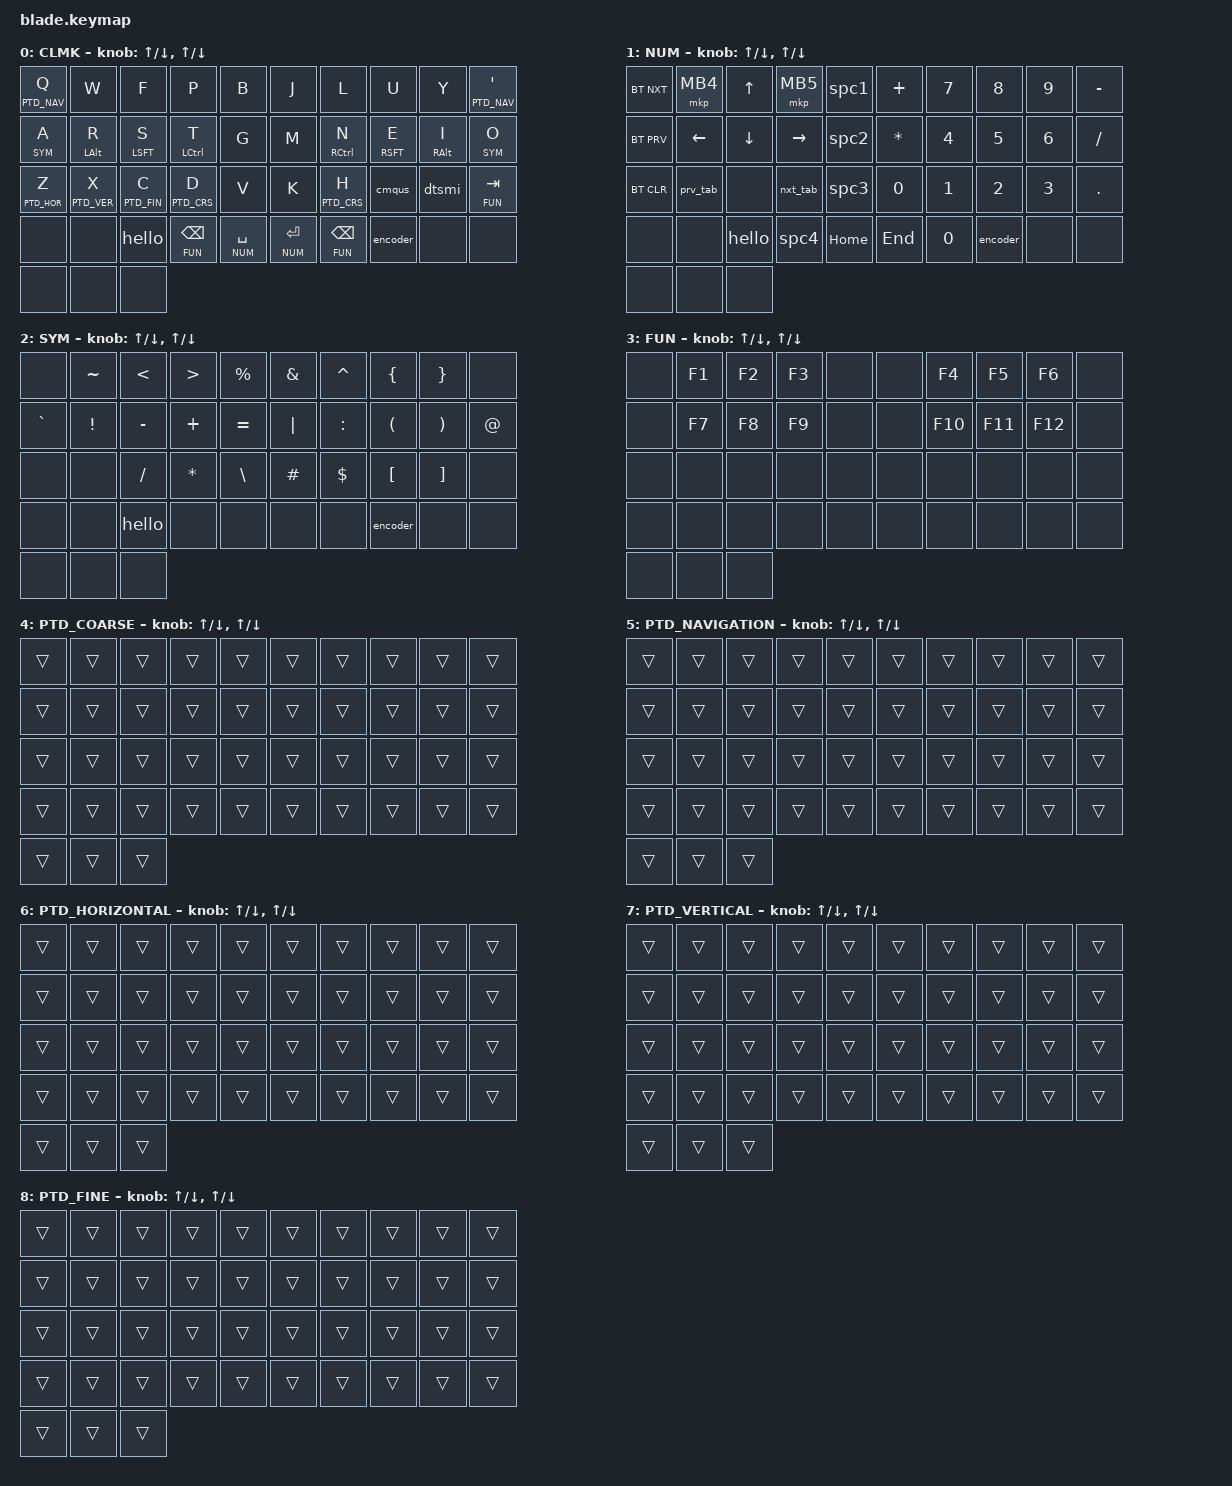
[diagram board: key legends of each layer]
/*
 * Copyright (c) 2020 The ZMK Contributors
 *
 * SPDX-License-Identifier: MIT
 */

#include <behaviors.dtsi>
#include <dt-bindings/zmk/keys.h>
#include <dt-bindings/zmk/bt.h>
#include <dt-bindings/zmk/outputs.h>
#include <dt-bindings/zmk/mouse.h>

#define DEFAULT 0
#define NUM     1
#define SYM     2
#define FUN     3
#define PTD_CRS     4
#define PTD_NAV     5
#define PTD_HOR     6
#define PTD_VER     7
#define PTD_FIN     8

&mt {
   flavor = "tap-preferred";
   tapping_term_ms = <200>;
};

/ { 
    // macros
    macros {
    ZMK_MACRO(hello,
        wait-ms = <0>;
        tap-ms  = <10>;
        bindings = <&kp H &kp E &kp L &kp L &kp O>;
    )

    ZMK_MACRO(encoder,
        wait-ms = <0>;
        tap-ms  = <10>;
        bindings = <&kp E &kp N &kp C &kp O &kp D &kp E &kp R>;
    )

    ZMK_MACRO(spc1,
        wait-ms = <0>;
        tap-ms  = <10>;
        bindings = <&kp LA(M) &kp N1>;
    )
    
    ZMK_MACRO(spc2,
        wait-ms = <0>;
        tap-ms  = <10>;
        bindings = <&kp LA(M) &kp N2>;
    )
    
    ZMK_MACRO(spc3,
        wait-ms = <0>;
        tap-ms  = <10>;
        bindings = <&kp LA(M) &kp N3>;
    )
   
    ZMK_MACRO(spc4,
        wait-ms = <0>;
        tap-ms  = <10>;
        bindings = <&kp LA(M) &kp N4>;
    )

    ZMK_MACRO(nxt_tab,
        wait-ms = <0>;
        tap-ms  = <10>;
        bindings = <&kp LC(TAB)>;
    )

    ZMK_MACRO(prv_tab,
        wait-ms = <0>;
        tap-ms  = <10>;
        bindings = <&kp LC(LS(TAB))>;
    )
    };

    // custom shift using mod-morph 
    behaviors {
      cmqus: comma_question {
        compatible = "zmk,behavior-mod-morph";
        label = "COMMA_QUESTION";
        #binding-cells = <0>;
        bindings = <&kp COMMA>, <&kp QUESTION>;
        mods = <(MOD_LSFT|MOD_RSFT)>;
      };

      dtsmi: dot_semi {
        compatible = "zmk,behavior-mod-morph";
        label = "DOT_SEMI";
        #binding-cells = <0>;
        bindings = <&kp DOT>, <&kp SEMI>;
        mods = <(MOD_LSFT|MOD_RSFT)>;
        masked_mods = <(MOD_LSFT|MOD_RSFT)>; // don't send shift
      };
    };

    // combos
    combos {
        compatible = "zmk,combos";
        // right hand 
        combo_esc {
            timeout-ms = <50>;
            key-positions = <16 17>;
            bindings = <&kp ESC>;
        };
        
         combo_lgui {
            timeout-ms = <50>;
            key-positions = <5 6>;
            bindings = <&kp LGUI>;
        };
        
         combo_fullscreen {
            timeout-ms = <50>;
            key-positions = <25 26>;
            bindings = <&kp F11>;
        };
        
         combo_wkspc_up {
            timeout-ms = <50>;
            key-positions = <6 7>;
            bindings = <&kp LG(PG_UP)>;
        };
        
         combo_wkspc_down {
            timeout-ms = <50>;
            key-positions = <26 27>;
            bindings = <&kp LG(PG_DN)>;
        };

         combo_win_up {
            timeout-ms = <50>;
            key-positions = <7 8>;
            bindings = <&kp LS(LG(PG_UP))>;
        };
        
         combo_win_down {
            timeout-ms = <50>;
            key-positions = <27 28>;
            bindings = <&kp LS(LG(PG_DN))>;
        };

         combo_win_left {
            timeout-ms = <50>;
            key-positions = <17 18>;
            bindings = <&kp LS(LG(LEFT))>;
        };

         combo_win_right {
            timeout-ms = <50>;
            key-positions = <9 18>;
            bindings = <&kp LS(LG(RIGHT))>;
        };
 
         combo_rdelete {
            timeout-ms = <50>;
            key-positions = <15 16>;
            bindings = <&kp DELETE>;
        };
 
        // left hand 
         combo_ldelete {
            timeout-ms = <50>;
            key-positions = <13 14>;
            bindings = <&kp DELETE>;
        };
 
        combo_zoomin {
            timeout-ms = <50>;
            key-positions = <3 4>;
            bindings = <&kp LC(PLUS)>;
        };
 
        combo_zoomout {
            timeout-ms = <50>;
            key-positions = <23 24>;
            bindings = <&kp LC(MINUS)>;
        };
 
        combo_pgdn {
            timeout-ms = <50>;
            key-positions = <21 22>;
            bindings = <&kp PG_DN>;
        };
 
        combo_pgup {
            timeout-ms = <50>;
            key-positions = <1 2>;
            bindings = <&kp PG_UP>;
        };
 
        combo_mb_lclick {
            timeout-ms = <50>;
            key-positions = <12 13>;
            bindings = <&mkp LCLK>;
        };

         combo_mb_rclick {
            timeout-ms = <50>;
            key-positions = <22 23>;
            bindings = <&mkp RCLK>;
        };

         combo_mb_mclick {
            timeout-ms = <50>;
            key-positions = <2 3>;
            bindings = <&mkp MCLK>;
        };
 
        // symbols
        combo_underscore {
            timeout-ms = <50>;
            key-positions = <11 12>;
            bindings = <&kp UNDERSCORE>;
        };

        // others
        combo_capswd {
            timeout-ms = <50>;
            key-positions = <2 7>;
            bindings = <&caps_word>;
        };

        // output selection
        combo_outble {
            timeout-ms = <50>;
            key-positions = <4 14>;
            bindings = <&out OUT_USB>;
        };
 
        combo_outtog {
            timeout-ms = <50>;
            key-positions = <4 24>;
            bindings = <&out OUT_TOG>;
        };

        // ble selection
        combo_ble1 {
            timeout-ms = <50>;
            key-positions = <14 24>;
            bindings = <&bt BT_SEL 0>;
        };

        combo_ble2 {
            timeout-ms = <50>;
            key-positions = <13 23>;
            bindings = <&bt BT_SEL 1>;
        };

        combo_ble3 {
            timeout-ms = <50>;
            key-positions = <12 22>;
            bindings = <&bt BT_SEL 2>;
        };

        combo_ble4 {
            timeout-ms = <50>;
            key-positions = <11 21>;
            bindings = <&bt BT_SEL 3>;
        };

        combo_ble5 {
            timeout-ms = <50>;
            key-positions = <10 20>;
            bindings = <&bt BT_SEL 4>;
        };
    };

// keymap
    keymap {
        compatible = "zmk,keymap";
                
     		default_layer {
            label = "CLMK";
        		bindings = <
            		&lt PTD_NAV Q     &kp W             &kp F             &kp P           &kp B         &kp J     &kp L               &kp U      &kp Y   &lt PTD_NAV SQT
             		&lt SYM A         &mt LALT R        &mt LSFT S        &mt LCTL T      &kp G         &kp M     &mt RCTL N          &mt RSFT E &mt RALT I &lt SYM O 
                &lt PTD_HOR Z     &lt PTD_VER X     &lt PTD_FIN C     &lt PTD_CRS D   &kp V         &kp K     &lt PTD_CRS H       &cmqus     &dtsmi     &lt FUN TAB
                &none  &none  &hello  &lt FUN BSPC  &lt NUM SPACE                               &lt NUM RET     &lt FUN BSPC  &encoder  &none   &none
                &none  &none  &none
             		>;
                sensor-bindings = <&inc_dec_kp UP DOWN &inc_dec_kp UP DOWN>;
                slider-bindings = <&slv &slv>;
                trackball-bindings = <&tmv>;
		    };

        number_layer {
            label = "NUM";
            bindings = <
                &bt BT_NXT  &mkp MB4  &kp UP    &mkp MB5   &spc1      &kp PLUS    &kp N7  &kp N8  &kp N9  &kp MINUS
                &bt BT_PRV  &kp LEFT  &kp DOWN  &kp RIGHT  &spc2      &kp ASTRK   &kp N4  &kp N5  &kp N6  &kp FSLH
                &bt BT_CLR  &prv_tab  &none     &nxt_tab   &spc3      &kp N0      &kp N1  &kp N2  &kp N3  &kp DOT
                           &none  &none  &hello  &spc4  &kp HOME      &kp END     &kp N0  &encoder  &none  &none
                &none  &none  &none
            >;
                sensor-bindings = <&inc_dec_kp UP DOWN &inc_dec_kp UP DOWN>;
                slider-bindings = <&slv &skp2 LC(MINUS) LC(PLUS)>;
                trackball-bindings = <&tsl>;
        };

        symbol_layer {
            label = "SYM";
            bindings = <
                &none     &kp TILDE &kp LT    &kp GT   &kp PRCNT      &kp AMPS  &kp CARET  &kp LBRC  &kp RBRC  &none
                &kp GRAVE &kp EXCL  &kp MINUS &kp PLUS &kp EQUAL      &kp PIPE  &kp COLON  &kp LPAR  &kp RPAR  &kp AT
                &none     &none     &kp SLASH &kp STAR &kp BSLH       &kp HASH  &kp DLLR   &kp LBKT  &kp RBKT  &none  
                             &none  &none  &hello  &none  &none       &none  &none  &encoder  &none  &none
                &none  &none  &none
            >;
                sensor-bindings = <&inc_dec_kp UP DOWN &inc_dec_kp UP DOWN>;
                slider-bindings = <&slv &skp2 LC(LS(TAB)) LC(TAB)>;
                trackball-bindings = <&tkp BSPC DELETE LC(MINUS) LC(PLUS)>;
        };

        function_layer {
            label = "FUN";
            bindings = <
                &none  &kp F1  &kp F2  &kp F3  &none       &none &kp F4  &kp F5  &kp F6  &none
                &none  &kp F7  &kp F8  &kp F9  &none       &none &kp F10 &kp F11 &kp F12 &none
                &none  &none   &none   &none   &none       &none &none   &none   &none   &none
                &none  &none   &none   &none   &none       &none &none   &none   &none   &none
                &none  &none  &none
            >;
                sensor-bindings = <&inc_dec_kp UP DOWN &inc_dec_kp UP DOWN>;
                slider-bindings = <&slv &slv>;
                trackball-bindings = <&tkp_fast RIGHT LEFT DOWN UP>;
        };
        
        ptd_coarse_layer {
            label = "PTD_COARSE";
            bindings = <
                &trans  &trans  &trans   &trans  &trans       &trans &trans &trans &trans &trans
                &trans  &trans  &trans   &trans  &trans       &trans &trans &trans &trans &trans
                &trans  &trans  &trans   &trans  &trans       &trans &trans &trans &trans &trans
                &trans  &trans  &trans   &trans  &trans       &trans &trans &trans &trans &trans
                &trans  &trans  &trans
            >;
                sensor-bindings = <&inc_dec_kp UP DOWN &inc_dec_kp UP DOWN>;
                slider-bindings = <&slv &slv>;
                trackball-bindings = <&tmv_coarse>;
        };

        ptd_navigation_layer {
            label = "PTD_NAVIGATION";
            bindings = <
                &trans  &trans  &trans   &trans  &trans       &trans &trans &trans &trans &trans
                &trans  &trans  &trans   &trans  &trans       &trans &trans &trans &trans &trans
                &trans  &trans  &trans   &trans  &trans       &trans &trans &trans &trans &trans
                &trans  &trans  &trans   &trans  &trans       &trans &trans &trans &trans &trans
                &trans  &trans  &trans
            >;
                sensor-bindings = <&inc_dec_kp UP DOWN &inc_dec_kp UP DOWN>;
                slider-bindings = <&slv &slv>;
                trackball-bindings = <&tkp LC(TAB) LC(LS(TAB)) LG(PG_UP) LG(PG_DN)>;
        };

        ptd_horizontal_layer {
            label = "PTD_HORIZONTAL";
            bindings = <
                &trans  &trans  &trans   &trans  &trans       &trans &trans &trans &trans &trans
                &trans  &trans  &trans   &trans  &trans       &trans &trans &trans &trans &trans
                &trans  &trans  &trans   &trans  &trans       &trans &trans &trans &trans &trans
                &trans  &trans  &trans   &trans  &trans       &trans &trans &trans &trans &trans
                &trans  &trans  &trans
            >;
                sensor-bindings = <&inc_dec_kp UP DOWN &inc_dec_kp UP DOWN>;
                slider-bindings = <&slv &slv>;
                trackball-bindings = <&tmv_x>;
        };

        ptd_vertical_layer {
            label = "PTD_VERTICAL";
            bindings = <
                &trans  &trans  &trans   &trans  &trans       &trans &trans &trans &trans &trans
                &trans  &trans  &trans   &trans  &trans       &trans &trans &trans &trans &trans
                &trans  &trans  &trans   &trans  &trans       &trans &trans &trans &trans &trans
                &trans  &trans  &trans   &trans  &trans       &trans &trans &trans &trans &trans
                &trans  &trans  &trans
            >;
                sensor-bindings = <&inc_dec_kp UP DOWN &inc_dec_kp UP DOWN>;
                slider-bindings = <&slv &slv>;
                trackball-bindings = <&tmv_y>;
        };

        ptd_fine_layer {
            label = "PTD_FINE";
            bindings = <
                &trans  &trans  &trans   &trans  &trans       &trans &trans &trans &trans &trans
                &trans  &trans  &trans   &trans  &trans       &trans &trans &trans &trans &trans
                &trans  &trans  &trans   &trans  &trans       &trans &trans &trans &trans &trans
                &trans  &trans  &trans   &trans  &trans       &trans &trans &trans &trans &trans
                &trans  &trans  &trans
            >;
                sensor-bindings = <&inc_dec_kp UP DOWN &inc_dec_kp UP DOWN>;
                slider-bindings = <&slv &slv>;
                trackball-bindings = <&tmv_fine>;
        };
   	};
};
